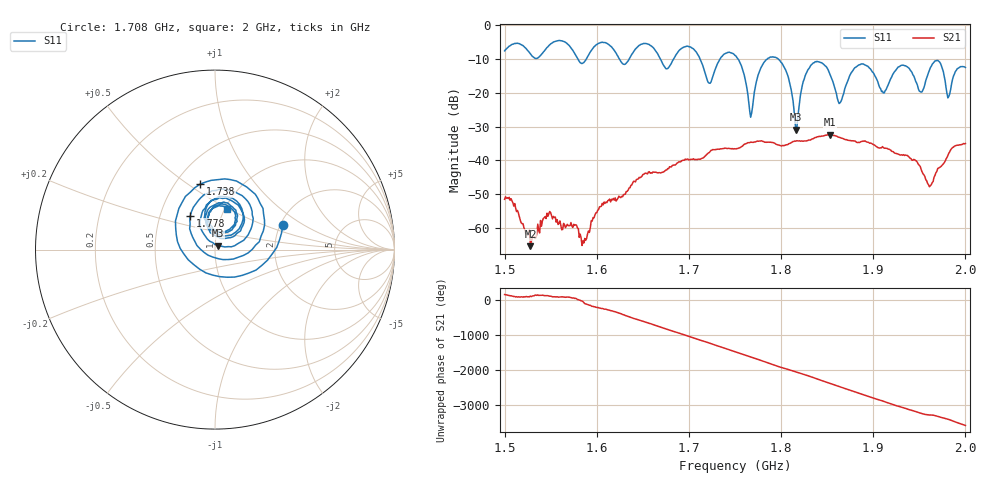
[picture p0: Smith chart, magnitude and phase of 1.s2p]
! NanoVNA-App by SYSJOINT et al v1.1.209 (+OD18)
! Date: 2026-01-21 14:28:23
! Start: 1,5GHz Stop: 2GHz Points: 501
! S-Parameter data: F S11 S21 S12 S22
# Hz S RI R 50
!  Frequency  S11_Real  S11_Imag  S21_Real  S21_Imag  S12_Real  S12_Imag  S22_Real  S22_Imag
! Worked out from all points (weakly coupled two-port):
!   501 points, 1.5 GHz to 2 GHz, reference 50 ohm
!   highest |S21| = -32.35 dB at 1.853 GHz (marker M1); lowest = -65.4 dB at 1.528 GHz (marker M2)
!   lowest |S11| = -30.9 dB at 1.816 GHz (marker M3), VSWR 1.06, Z = 51.8 + j2.23 ohm
!   |S11| at or under -10 dB: 1.712 GHz to 1.734 GHz (21.49 MHz wide, 1.25 % of centre); 1.753 GHz to 1.785 GHz (31.64 MHz wide, 1.79 % of centre); 1.797 GHz to end of sweep (the widest 3 of 6)
!   S12 and S22 are empty: the file has one direction only
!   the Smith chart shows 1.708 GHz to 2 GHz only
!   S11 on the Smith chart (normalised r, x): 1.708 GHz: 2.07, +0.68; 1.738 GHz: 0.66, +0.56; 1.778 GHz: 0.71, +0.28; 2 GHz: 1.02, +0.50
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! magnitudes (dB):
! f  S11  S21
! 1.5 GHz  -7.5  -51.5
! 1.528 GHz  -8.5  -65.4
! 1.548 GHz  -6.0  -55.8
! 1.584 GHz  -11.3  -65.2
! 1.667 GHz  -8.9  -43.7
! 1.708 GHz  -7.9  -39.8
! 1.722 GHz  -17.1  -37.7
! 1.738 GHz  -8.5  -36.5
! 1.75 GHz  -8.9  -36.6
! 1.767 GHz  -27.2  -34.6
! 1.778 GHz  -12.6  -34.2
! 1.801 GHz  -11.2  -35.7
! 1.816 GHz  -30.9  -34.3
! 1.834 GHz  -11.4  -33.6
! 1.853 GHz  -14.4  -32.4
! 1.864 GHz  -22.9  -33.2
! 1.886 GHz  -11.6  -34.6
! 1.917 GHz  -17.0  -36.7
! 1.961 GHz  -13.3  -47.8
! 1.972 GHz  -10.8  -42.1
! 1.982 GHz  -21.0  -37.9
! 2 GHz  -12.5  -35.0
